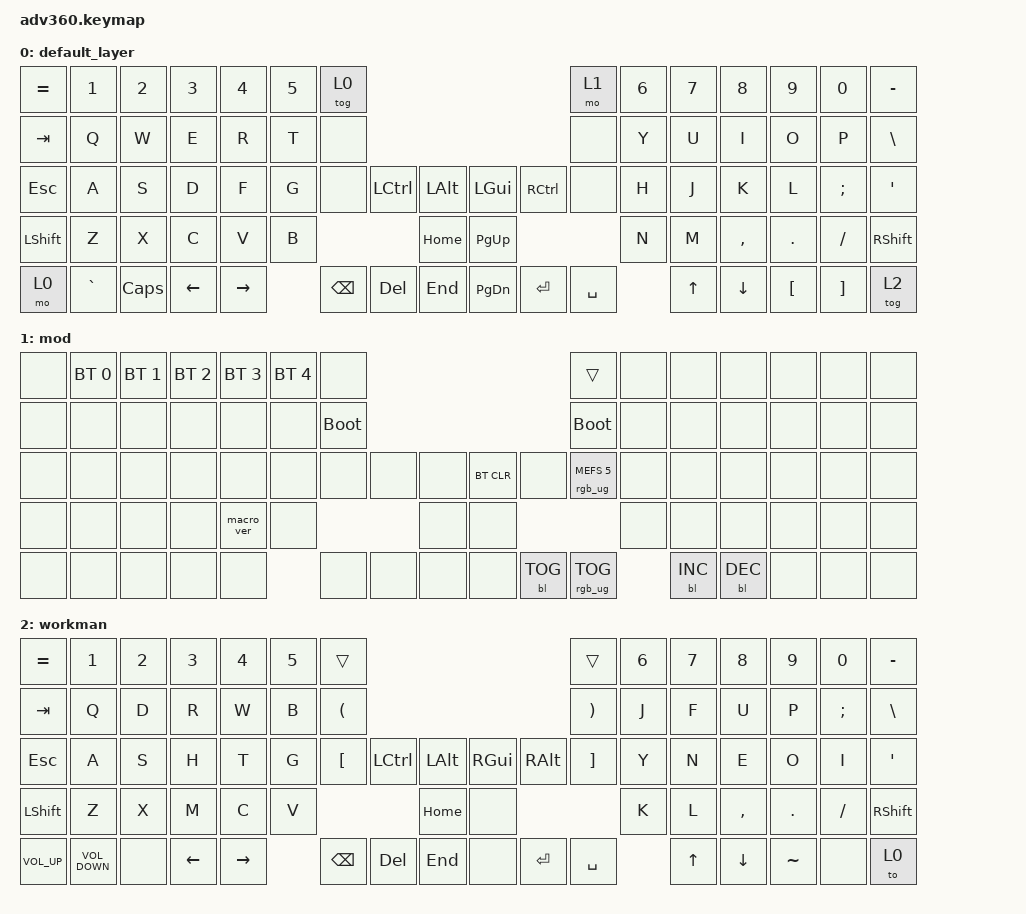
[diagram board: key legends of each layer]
#include <behaviors.dtsi>
#include <dt-bindings/zmk/backlight.h>
#include <dt-bindings/zmk/bt.h>
#include <dt-bindings/zmk/keys.h>
#include <dt-bindings/zmk/rgb.h>

/ {
    behaviors {
        #include "macros.dtsi"
      #include "version.dtsi"
      #ifndef VERSION_MACRO





        #endif

        hm: homerow_mods {
            compatible = "zmk,behavior-hold-tap";
            label = "HOMEROW_MODS";
            #binding-cells = <2>;
            tapping-term-ms = <200>;
            quick_tap_ms = <175>;
            flavor = "tap-preferred";
            bindings = <&kp>, <&kp>;
        };
    };

    macros {
    };

    combos {
        compatible = "zmk,combos";

        yank {
            bindings = <&kp LG(C)>;
            key-positions = <53>;
        };

        paste {
            bindings = <&kp LG(V)>;
            key-positions = <68>;
        };

        undo {
            bindings = <&kp LG(Z)>;
            key-positions = <74>;
        };

        snagit {
            bindings = <&kp LC(LA(LG(P)))>;
            key-positions = <62>;
        };
    };

    keymap {
        compatible = "zmk,keymap";

        default_layer {
            bindings = <
&kp EQUAL  &kp N1     &kp N2    &kp N3    &kp N4     &kp N5  &tog 0                                                   &mo 1      &kp N6  &kp N7  &kp N8     &kp N9    &kp N0    &kp MINUS
&kp TAB    &kp Q      &kp W     &kp E     &kp R      &kp T   &none                                                    &none      &kp Y   &kp U   &kp I      &kp O     &kp P     &kp BSLH
&kp ESC    &kp A      &kp S     &kp D     &kp F      &kp G   &none     &kp LCTRL  &kp LALT      &kp LGUI   &kp RCTRL  &none      &kp H   &kp J   &kp K      &kp L     &kp SEMI  &kp SQT
&kp LSHFT  &kp Z      &kp X     &kp C     &kp V      &kp B                        &kp HOME      &kp PG_UP                        &kp N   &kp M   &kp COMMA  &kp DOT   &kp FSLH  &kp RSHFT
&mo 0      &kp GRAVE  &kp CAPS  &kp LEFT  &kp RIGHT          &kp BSPC  &kp DEL    &kp END       &kp PG_DN  &kp ENTER  &kp SPACE          &kp UP  &kp DOWN   &kp LBKT  &kp RBKT  &tog 2
            >;
        };

        mod {
            bindings = <
&none  &bt BT_SEL 0  &bt BT_SEL 1  &bt BT_SEL 2  &bt BT_SEL 3  &bt BT_SEL 4  &none                                                  &trans                  &none  &none       &none       &none  &none  &none
&none  &none         &none         &none         &none         &none         &bootloader                                            &bootloader             &none  &none       &none       &none  &none  &none
&none  &none         &none         &none         &none         &none         &none        &none  &none      &bt BT_CLR  &none       &rgb_ug RGB_MEFS_CMD 5  &none  &none       &none       &none  &none  &none
&none  &none         &none         &none         &macro_ver    &none                             &none      &none                                           &none  &none       &none       &none  &none  &none
&none  &none         &none         &none         &none                       &none        &none  &none      &none       &bl BL_TOG  &rgb_ug RGB_TOG                &bl BL_INC  &bl BL_DEC  &none  &none  &none
            >;
        };

        workman {
            bindings = <
&kp EQUAL        &kp N1             &kp N2  &kp N3    &kp N4     &kp N5  &trans                                                               &trans                 &kp N6  &kp N7        &kp N8     &kp N9     &kp N0    &kp MINUS
&kp TAB          &kp Q              &kp D   &kp R     &kp W      &kp B   &kp LEFT_PARENTHESIS                                                 &kp RIGHT_PARENTHESIS  &kp J   &kp F         &kp U      &kp P      &kp SEMI  &kp BSLH
&kp ESC          &kp A              &kp S   &kp H     &kp T      &kp G   &kp LEFT_BRACKET      &kp LCTRL   &kp LALT      &kp RGUI  &kp RALT   &kp RBKT               &kp Y   &kp N         &kp E      &kp O      &kp I     &kp APOS
&kp LSHFT        &kp Z              &kp X   &kp M     &kp C      &kp V                                     &kp HOME      &none                                       &kp K   &kp L         &kp COMMA  &kp DOT    &kp FSLH  &kp RSHFT
&kp C_VOLUME_UP  &kp C_VOLUME_DOWN  &none   &kp LEFT  &kp RIGHT          &kp BSPC              &kp DELETE  &kp END       &none     &kp ENTER  &kp SPACE                      &kp UP_ARROW  &kp DOWN   &kp TILDE  &none     &to 0
            >;
        };
    };
};
